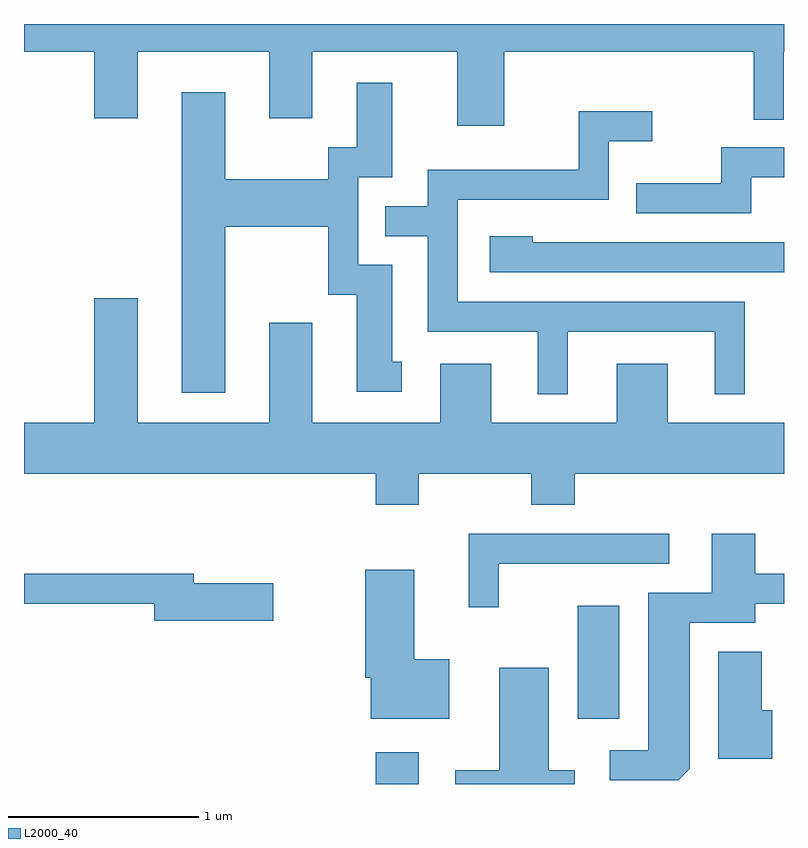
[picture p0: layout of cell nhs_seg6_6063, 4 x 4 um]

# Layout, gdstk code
import gdstk
lib = gdstk.Library(unit=1e-6, precision=1e-09)
def R(c, l, rs):  # rectangles x0, y0, x1, y1
    for r in rs: c.add(gdstk.rectangle(r[:2], r[2:], *l))
def P(c, l, *ps):  # polygons
    for p in ps: c.add(gdstk.Polygon(p, *l))
L2000_40 = (2000, 40)

nhs_seg6_6063 = lib.new_cell('nhs_seg6_6063')
R(nhs_seg6_6063, L2000_40, [(371.461,1566.162,371.689,1566.329), (372.526,1566.506,372.744,1567.099)])
P(nhs_seg6_6063, L2000_40, [(372.139,1570.016),(373.451,1570.016),(373.451,1569.658),(373.609,1569.658),(373.609,1570.016),(373.611,1570.016),(373.611,1570.162),(369.611,1570.162),(369.611,1570.016),(369.981,1570.016),(369.981,1569.666),(370.209,1569.666),(370.209,1570.016),(370.901,1570.016),(370.901,1569.666),(371.129,1569.666),(371.129,1570.016),(371.891,1570.016),(371.891,1569.626),(372.139,1569.626)],
  [(370.669,1569.096),(371.211,1569.096),(371.211,1568.736),(371.361,1568.736),(371.361,1568.226),(371.598,1568.226),(371.598,1568.384),(371.549,1568.384),(371.549,1568.894),(371.369,1568.894),(371.369,1569.356),(371.549,1569.356),(371.549,1569.854),(371.361,1569.854),(371.361,1569.514),(371.211,1569.514),(371.211,1569.344),(370.669,1569.344),(370.669,1569.804),(370.441,1569.804),(370.441,1568.221),(370.669,1568.221)],
  [(372.474,1568.541),(373.246,1568.541),(373.246,1568.213),(373.404,1568.213),(373.404,1568.699),(371.894,1568.699),(371.894,1569.236),(372.689,1569.236),(372.689,1569.546),(372.918,1569.546),(372.918,1569.704),(372.531,1569.704),(372.531,1569.394),(371.736,1569.394),(371.736,1569.204),(371.513,1569.204),(371.513,1569.046),(371.736,1569.046),(371.736,1568.541),(372.316,1568.541),(372.316,1568.213),(372.474,1568.213)],
  [(373.439,1569.356),(373.611,1569.356),(373.611,1569.514),(373.281,1569.514),(373.281,1569.324),(372.833,1569.324),(372.833,1569.166),(373.439,1569.166)],
  [(373.611,1569.014),(372.289,1569.014),(372.289,1569.044),(372.061,1569.044),(372.061,1568.856),(373.611,1568.856)],
  [(371.689,1567.796),(372.281,1567.796),(372.281,1567.631),(372.509,1567.631),(372.509,1567.796),(373.611,1567.796),(373.611,1568.064),(372.999,1568.064),(372.999,1568.374),(372.731,1568.374),(372.731,1568.064),(372.069,1568.064),(372.069,1568.374),(371.801,1568.374),(371.801,1568.064),(371.129,1568.064),(371.129,1568.589),(370.901,1568.589),(370.901,1568.064),(370.209,1568.064),(370.209,1568.719),(369.981,1568.719),(369.981,1568.064),(369.611,1568.064),(369.611,1567.796),(371.461,1567.796),(371.461,1567.631),(371.689,1567.631)],
  [(372.109,1567.321),(373.008,1567.321),(373.008,1567.479),(371.951,1567.479),(371.951,1567.093),(372.109,1567.093)],
  [(373.114,1566.242),(373.114,1567.011),(373.459,1567.011),(373.459,1567.111),(373.611,1567.111),(373.611,1567.269),(373.459,1567.269),(373.459,1567.479),(373.231,1567.479),(373.231,1567.169),(372.896,1567.169),(372.896,1566.339),(372.693,1566.339),(372.693,1566.181),(373.054,1566.181)],
  [(371.849,1566.819),(371.664,1566.819),(371.664,1567.289),(371.406,1567.289),(371.406,1566.721),(371.436,1566.721),(371.436,1566.506),(371.849,1566.506)],
  [(370.924,1567.219),(370.504,1567.219),(370.504,1567.269),(369.611,1567.269),(369.611,1567.111),(370.296,1567.111),(370.296,1567.021),(370.924,1567.021)],
  [(373.549,1566.549),(373.494,1566.549),(373.494,1566.859),(373.266,1566.859),(373.266,1566.296),(373.549,1566.296)],
  [(372.509,1566.234),(372.374,1566.234),(372.374,1566.774),(372.111,1566.774),(372.111,1566.234),(371.881,1566.234),(371.881,1566.162),(372.509,1566.162)])

lib.write_gds('nhs_seg6_6063.gds')
